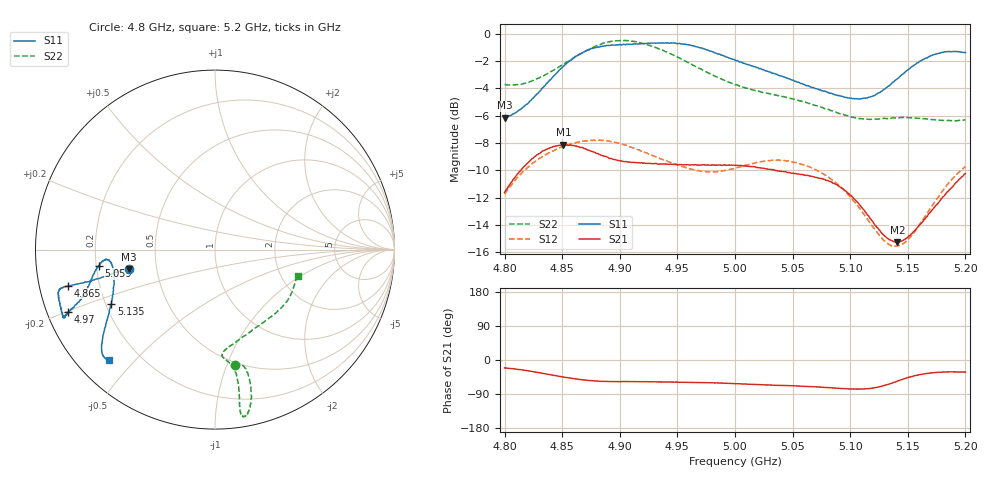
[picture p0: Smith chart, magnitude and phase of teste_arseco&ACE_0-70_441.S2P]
! Network Analyzer HP8722D
! Hewlett-Packard
! Data name: Linha & Wilkinson
! Saver's name: Rodrigo Anjos
! Comments: Teste da utilização de aquisição
! continua pelo VNA HP8722D
! Time and date: 8/5/2025 16:26
!  Frequency  S11  S21  S12  S22
# HZ  S  MA R 50
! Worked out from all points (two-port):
!   401 points, 4.8 GHz to 5.2 GHz, reference 50 ohm
!   highest |S21| = -8.11 dB at 4.851 GHz (marker M1); lowest = -15.2 dB at 5.141 GHz (marker M2)
!   |S21| within 3 dB of the highest: 4.804 GHz to 5.089 GHz (285.5 MHz wide, 5.77 % of centre); 5.189703 GHz to end of sweep
!   lowest |S11| = -6.1 dB at 4.8 GHz (marker M3), VSWR 2.94, Z = 17.2 - j4.9 ohm
!   |S11| at or under -10 dB: nowhere
!   |S22| runs from -6.4 to -0.5 dB; largest |S21 - S12| = 0.62
!   S11 on the Smith chart (normalised r, x): 4.8 GHz: 0.34, -0.10; 4.865 GHz: 0.09, -0.12; 4.97 GHz: 0.06, -0.20; 5.059 GHz: 0.21, -0.07; 5.135 GHz: 0.22, -0.23; 5.2 GHz: 0.09, -0.42
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4.8e9  0.4927 -167.3  0.2629 -20.9  0.2591 -142.1  0.6523 -80.2
4.826e9  0.5888 -166.8  0.3549 -31.3  0.3396 -146.2  0.6774 -75.9
4.851e9  0.7589 -165.8  0.3931 -45.0  0.3865 -150.7  0.7731 -75.2
4.865e9  0.8416 -166.2  0.3846 -51.3  0.4021 -152.9  0.84 -76.0
4.867e9  0.8492 -166.1  0.3841 -52.1  0.4035 -153.1  0.8495 -76.2
4.879e9  0.89 -165.8  0.3664 -55.3  0.4072 -155.0  0.9 -77.4
4.899e9  0.9101 -163.1  0.3441 -57.2  0.3981 -157.4  0.9435 -79.8
4.934e9  0.9249 -156.8  0.3331 -57.9  0.3514 -156.1  0.8795 -81.0
4.97e9  0.8881 -156.9  0.3309 -59.5  0.3145 -147.3  0.743 -80.1
5e9  0.802 -159.5  0.3301 -62.3  0.323 -137.8  0.6505 -81.7
5.035e9  0.7122 -165.9  0.3163 -66.6  0.3457 -135.2  0.5967 -86.0
5.059e9  0.6542 -172.1  0.3054 -69.1  0.3319 -137.2  0.5643 -84.5
5.067e9  0.6358 -173.5  0.3007 -70.2  0.3225 -137.9  0.552 -82.7
5.082e9  0.6063 -174.8  0.2888 -73.0  0.2971 -139.4  0.526 -76.8
5.1e9  0.5803 -171.9  0.257 -76.3  0.2535 -139.6  0.4979 -66.5
5.116e9  0.5855 -164.2  0.2155 -75.6  0.2069 -135.2  0.4865 -55.0
5.134e9  0.6454 -153.2  0.1765 -63.0  0.1691 -118.5  0.4911 -42.8
5.135e9  0.6518 -152.4  0.1759 -62.0  0.1686 -117.2  0.4908 -42.2
5.141e9  0.6839 -149.4  0.1731 -55.5  0.1674 -109.5  0.4924 -38.7
5.154e9  0.7598 -144.0  0.1867 -43.1  0.1852 -93.7  0.4927 -32.2
5.173e9  0.839 -138.9  0.2314 -33.5  0.2416 -80.8  0.485 -24.2
5.2e9  0.8525 -133.9  0.3081 -32.3  0.3269 -77.7  0.4835 -17.7
